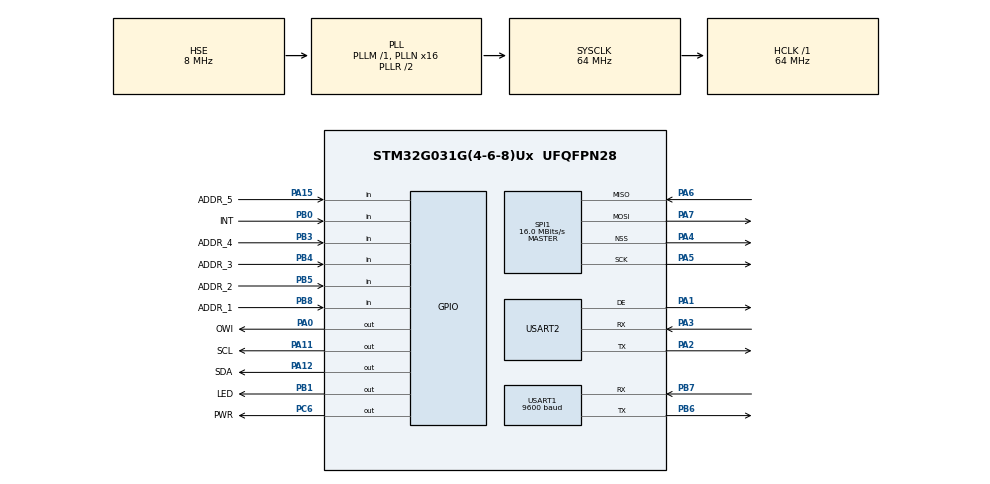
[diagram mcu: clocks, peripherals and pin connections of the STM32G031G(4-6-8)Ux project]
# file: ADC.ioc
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FREERTOS.Tasks01=defaultTask,0,128,StartDefaultTask,Default,NULL,Dynamic,NULL,NULL;myTask02,-3,128,ModbusTask,Default,NULL,Dynamic,NULL,NULL
IWDG.Prescaler=IWDG_PRESCALER_32
IWDG.Reload=1000
IWDG.Window=1000
Mcu.Family=STM32G0
Mcu.Name=STM32G031G(4-6-8)Ux
Mcu.Package=UFQFPN28
NVIC.TIM14_IRQn=true\:3\:0\:false\:false\:true\:false\:false\:true\:true
NVIC.TIM1_BRK_UP_TRG_COM_IRQn=true\:3\:0\:false\:false\:true\:true\:true\:true\:true
NVIC.TIM1_CC_IRQn=true\:3\:0\:false\:false\:true\:true\:true\:true\:true
NVIC.TIM2_IRQn=true\:3\:0\:false\:false\:true\:true\:true\:true\:true
NVIC.TIM3_IRQn=true\:3\:0\:false\:false\:true\:true\:true\:true\:true
NVIC.TimeBase=TIM14_IRQn
NVIC.TimeBaseIP=TIM14
NVIC.USART2_IRQn=true\:3\:0\:false\:false\:true\:true\:true\:true\:true
PA0.GPIO_Label=OWI
PA0.GPIO_ModeDefaultOutputPP=GPIO_MODE_OUTPUT_OD
PA0.GPIO_PuPd=GPIO_PULLUP
PA0.GPIO_Speed=GPIO_SPEED_FREQ_VERY_HIGH
PA0.Signal=GPIO_Output
PA1.Mode=Hardware Flow Control (RS485)
PA1.Signal=USART2_DE
PA11\ [PA9].GPIO_Label=SCL
PA11\ [PA9].GPIO_ModeDefaultOutputPP=GPIO_MODE_OUTPUT_OD
PA11\ [PA9].GPIO_PuPd=GPIO_NOPULL
PA11\ [PA9].PinState=GPIO_PIN_SET
PA11\ [PA9].Signal=GPIO_Output
PA12\ [PA10].GPIO_Label=SDA
PA12\ [PA10].GPIO_ModeDefaultOutputPP=GPIO_MODE_OUTPUT_OD
PA12\ [PA10].GPIO_PuPd=GPIO_NOPULL
PA12\ [PA10].PinState=GPIO_PIN_SET
PA12\ [PA10].Signal=GPIO_Output
PA13.Mode=Serial_Wire
PA13.Signal=SYS_SWDIO
PA14-BOOT0.Mode=Serial_Wire
PA14-BOOT0.Signal=SYS_SWCLK
PA15.GPIO_Label=ADDR_5
PA15.GPIO_Mode=GPIO_MODE_INPUT
PA15.GPIO_PuPd=GPIO_PULLUP
PA15.Signal=GPIO_Input
PA2.Mode=Asynchronous
PA2.Signal=USART2_TX
PA3.Mode=Asynchronous
PA3.Signal=USART2_RX
PA4.Mode=NSS_Signal_Hard_Output
PA4.Signal=SPI1_NSS
PA5.Mode=Full_Duplex_Master
PA5.Signal=SPI1_SCK
PA6.Mode=Full_Duplex_Master
PA6.Signal=SPI1_MISO
PA7.Mode=Full_Duplex_Master
PA7.Signal=SPI1_MOSI
PB0.GPIO_Label=INT
PB0.Signal=GPIO_Input
PB1.GPIO_Label=LED
PB1.Signal=GPIO_Output
PB3.GPIO_Label=ADDR_4
PB3.GPIO_Mode=GPIO_MODE_INPUT
PB3.GPIO_PuPd=GPIO_PULLUP
PB3.Signal=GPIO_Input
PB4.GPIO_Label=ADDR_3
PB4.GPIO_Mode=GPIO_MODE_INPUT
PB4.GPIO_PuPd=GPIO_PULLUP
PB4.Signal=GPIO_Input
PB5.GPIO_Label=ADDR_2
PB5.GPIO_Mode=GPIO_MODE_INPUT
PB5.GPIO_PuPd=GPIO_PULLUP
PB5.Signal=GPIO_Input
PB6.Mode=Asynchronous
PB6.Signal=USART1_TX
PB7.Mode=Asynchronous
PB7.Signal=USART1_RX
PB8.GPIO_Label=ADDR_1
PB8.GPIO_Mode=GPIO_MODE_INPUT
PB8.GPIO_PuPd=GPIO_PULLUP
PB8.Signal=GPIO_Input
PC14-OSC32_IN\ (PC14).Mode=HSE-External-Clock-Source
PC14-OSC32_IN\ (PC14).Signal=RCC_OSC_IN
PC6.GPIO_Label=PWR
PC6.PinState=GPIO_PIN_RESET
PC6.Signal=GPIO_Output
ProjectManager.HeapSize=0x200
ProjectManager.StackSize=0x400
ProjectManager.TargetToolchain=MDK-ARM V5.32
RCC.ADCFreq_Value=64000000
RCC.AHBFreq_Value=64000000
RCC.CortexFreq_Value=64000000
RCC.EXTERNAL_CLOCK_VALUE=12288000
RCC.HCLKFreq_Value=64000000
RCC.HSE_VALUE=8000000
RCC.HSI_VALUE=16000000
RCC.LSE_VALUE=32768
RCC.PLLN=16
RCC.PLLSourceVirtual=RCC_PLLSOURCE_HSE
RCC.SYSCLKFreq_VALUE=64000000
RCC.SYSCLKSource=RCC_SYSCLKSOURCE_PLLCLK
RCC.TIM1CLockSelectionVirtual=RCC_TIM1CLKSOURCE_PLL
RCC.VCOOutputFreq_Value=128000000
SPI1.BaudRatePrescaler=SPI_BAUDRATEPRESCALER_4
SPI1.CLKPhase=SPI_PHASE_2EDGE
SPI1.CalculateBaudRate=16.0 MBits/s
SPI1.Direction=SPI_DIRECTION_2LINES
SPI1.Mode=SPI_MODE_MASTER
SPI1.VirtualNSS=VM_NSSHARD
SPI1.VirtualType=VM_MASTER
TIM1.Period=0xFFFF
TIM1.Prescaler=64-1
TIM2.Channel-Input_Capture1_from_TI1_REMAP_TIM2=TIM_CHANNEL_1
TIM2.Prescaler=64-1
USART1.BaudRate=9600
USART1.SwapParam=ADVFEATURE_SWAP_DISABLE
USART1.VirtualMode-Asynchronous=VM_ASYNC
USART2.VirtualMode-Asynchronous=VM_ASYNC
USART2.VirtualMode-Hardware\ Flow\ Control\ (RS485)=VM_ASYNC
VP_FREERTOS_VS_CMSIS_V1.Mode=CMSIS_V1
VP_IWDG_VS_IWDG.Mode=IWDG_Activate
VP_SYS_VS_tim14.Mode=TIM14
VP_TIM1_VS_ClockSourceINT.Mode=Internal
VP_TIM2_VS_ClockSourceINT.Mode=Internal
VP_TIM2_VS_NoInput1.Mode=Input_Capture1_from_TI1_REMAP_TIM2
VP_TIM3_VS_ClockSourceINT.Mode=Internal
board=custom

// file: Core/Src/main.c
/* USER CODE BEGIN Header */
/**
  ******************************************************************************
  * @file           : main.c
  * @brief          : Main program body
  ******************************************************************************
  * @attention
  *
  * Copyright (c) 2025 STMicroelectronics.
  * All rights reserved.
  *
  * This software is licensed under terms that can be found in the LICENSE file
  * in the root directory of this software component.
  * If no LICENSE file comes with this software, it is provided AS-IS.
  *
  ******************************************************************************
  */
/* USER CODE END Header */
#include "main.h"
#include "cmsis_os.h"
#include "iwdg.h"
#include "spi.h"
#include "tim.h"
#include "usart.h"
#include "gpio.h"

/* USER CODE BEGIN Includes */
#include <math.h>
/* USER CODE END Includes */

void SystemClock_Config(void);
void MX_FREERTOS_Init(void);

/* USER CODE BEGIN 0 */
union Transfer
{
	 //整型和浮点型的转换
	int32_t Int32_data;//stm32中int占4个字节32位
	float   Float_data;//stm32中float占4个字节32位
	uint8_t Byte[4];   //4个uint8_t类型元素，占32位

}transT,transP,trans;

uint8_t LeastSquares(float x[], float y[], int num, float resp[]) {
	uint8_t err = 0;
	float sum_x2 = 0.0;  // x平方的和
	float sum_y = 0.0;   // y的和
	float sum_x = 0.0;   // x的和
	float sum_xy = 0.0;  // x乘以y的和
	float denominator;   // 分母变量
	const float EPS = 1e-9f;  // 极小值阈值，用于判断接近零的情况

	// 检查输入参数有效性：至少需要2个点才能拟合直线
	if (num <= 1) {
		err = 2;
		resp[0] = 0;
		resp[1] = 0;
		return err;
	}

	// 累加计算
	for (int i = 0; i < num; ++i) {
		sum_x2 += x[i] * x[i];
		sum_y += y[i];
		sum_x += x[i];
		sum_xy += x[i] * y[i];
	}

	// 计算分母
	denominator = num * sum_x2 - sum_x * sum_x;

	//if (fabs(denominator) < 1e-9) {
	// 检查分母是否为零或接近零（不使用fabs的写法）
	if (denominator == 0 || (denominator > -EPS && denominator < EPS)) {
		err = 1;  // 分母为零或接近零，无法拟合
		resp[0] = 0;
		resp[1] = 0;
		return err;
	}

	// 计算斜率a和截距b
	resp[0] = (num * sum_xy - sum_x * sum_y) / denominator;
	resp[1] = (sum_x2 * sum_y - sum_x * sum_xy) / denominator;

	return err;
}
uint32_t bufff_k;
void test() {
    float pad[2];
    float p[2];
    float p_kb[2];

	p[0] = 101.4;
	p[1] = 70;
	pad[0] = 2525590;
	pad[1] = 1441165;

    LeastSquares(pad, p, 2, p_kb);

    bufff_k=(int32_t)round(p_kb[0] * 1000000);
//    bufff_k=bufff_k;

}
/* USER CODE END 0 */

int main(void)
{

  /* MCU Configuration--------------------------------------------------------*/

  /* Reset of all peripherals, Initializes the Flash interface and the Systick. */
  HAL_Init();

  /* USER CODE BEGIN Init */
//test();
  /* USER CODE END Init */

  /* Configure the system clock */
  SystemClock_Config();

  /* USER CODE BEGIN SysInit */
  __HAL_RCC_LSI_ENABLE();
  while(__HAL_RCC_GET_FLAG(RCC_FLAG_LSIRDY) == RESET);
  /* USER CODE END SysInit */

  /* Initialize all configured peripherals */
  MX_GPIO_Init();
  MX_SPI1_Init();
  MX_USART2_UART_Init();
  MX_TIM3_Init();
  MX_TIM1_Init();
  MX_TIM2_Init();
  MX_USART1_UART_Init();
  MX_IWDG_Init();
  /* USER CODE BEGIN 2 */
  HAL_IWDG_Refresh(&hiwdg);
  /* USER CODE END 2 */

  /* Call init function for freertos objects (in cmsis_os2.c) */
  MX_FREERTOS_Init();

  /* Start scheduler */
  osKernelStart();

  /* We should never get here as control is now taken by the scheduler */

  /* Infinite loop */
  while (1)
  {

  }
}

void SystemClock_Config(void)
{
  RCC_OscInitTypeDef RCC_OscInitStruct = {0};
  RCC_ClkInitTypeDef RCC_ClkInitStruct = {0};

  /** Configure the main internal regulator output voltage
  */
  HAL_PWREx_ControlVoltageScaling(PWR_REGULATOR_VOLTAGE_SCALE1);

  /** Initializes the RCC Oscillators according to the specified parameters
  * in the RCC_OscInitTypeDef structure.
  */
  RCC_OscInitStruct.OscillatorType = RCC_OSCILLATORTYPE_LSI|RCC_OSCILLATORTYPE_HSE;
  RCC_OscInitStruct.HSEState = RCC_HSE_BYPASS;
  RCC_OscInitStruct.LSIState = RCC_LSI_ON;
  RCC_OscInitStruct.PLL.PLLState = RCC_PLL_ON;
  RCC_OscInitStruct.PLL.PLLSource = RCC_PLLSOURCE_HSE;
  RCC_OscInitStruct.PLL.PLLM = RCC_PLLM_DIV1;
  RCC_OscInitStruct.PLL.PLLN = 16;
  RCC_OscInitStruct.PLL.PLLP = RCC_PLLP_DIV2;
  RCC_OscInitStruct.PLL.PLLQ = RCC_PLLQ_DIV2;
  RCC_OscInitStruct.PLL.PLLR = RCC_PLLR_DIV2;
  if (HAL_RCC_OscConfig(&RCC_OscInitStruct) != HAL_OK)
  {
    Error_Handler();
  }

  /** Initializes the CPU, AHB and APB buses clocks
  */
  RCC_ClkInitStruct.ClockType = RCC_CLOCKTYPE_HCLK|RCC_CLOCKTYPE_SYSCLK
                              |RCC_CLOCKTYPE_PCLK1;
  RCC_ClkInitStruct.SYSCLKSource = RCC_SYSCLKSOURCE_PLLCLK;
  RCC_ClkInitStruct.AHBCLKDivider = RCC_SYSCLK_DIV1;
  RCC_ClkInitStruct.APB1CLKDivider = RCC_HCLK_DIV1;

  if (HAL_RCC_ClockConfig(&RCC_ClkInitStruct, FLASH_LATENCY_2) != HAL_OK)
  {
    Error_Handler();
  }
}

/* USER CODE BEGIN 4 */
void delay_us(uint32_t us)
{
  uint16_t delay=0xffff-us-5;
  __HAL_TIM_SetCounter(&htim1,delay);
  while(delay<0xffff-5)
  {
     delay=__HAL_TIM_GetCounter(&htim1);
  }
}

//void HAL_WWDG_EarlyWakeupCallback(WWDG_HandleTypeDef *hwwdg)
//{
//  /* Prevent unused argument(s) compilation warning */
//  UNUSED(hwwdg);
//  HAL_WWDG_Refresh(hwwdg);      //喂狗
//}
/* USER CODE END 4 */

void HAL_TIM_PeriodElapsedCallback(TIM_HandleTypeDef *htim)
{
  if (htim->Instance == TIM14)
  {
    HAL_IncTick();
  }
}

void Error_Handler(void)
{
  __disable_irq();
  while (1)
  {
  }
}

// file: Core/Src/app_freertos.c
/* USER CODE BEGIN Header */
/**
  ******************************************************************************
  * File Name          : app_freertos.c
  * Description        : Code for freertos applications
  ******************************************************************************
  * @attention
  *
  * Copyright (c) 2025 STMicroelectronics.
  * All rights reserved.
  *
  * This software is licensed under terms that can be found in the LICENSE file
  * in the root directory of this software component.
  * If no LICENSE file comes with this software, it is provided AS-IS.
  *
  ******************************************************************************
  */
/* USER CODE END Header */

#include "FreeRTOS.h"
#include "task.h"
#include "main.h"
#include "cmsis_os.h"

/* USER CODE BEGIN Includes */
#include "usart.h"
#include "stdio.h"
#include "mb.h"
#include "mbutils.h"
#include <string.h>
#include "CmdHelper.h"
#include "ADS1220.h"
#include "flash.h"
#include "SoftIIC.h"
#include "tim.h"
#include "iwdg.h"
#include "wf2200.h"
#include "wf183.h"
#include "wf100s.h"

/* USER CODE END Includes */

/* USER CODE BEGIN PTD */

#define SLAVE_ADDRESS 31

#define REG_INPUT_START 30001
#define SENDBUF_LENS 120
#define REG_HOLDING_START 40001
#define RECVBUF_LENS 64
#define RETRY_COUNT 2
#define REG_INPUT2_START 20001
uint16_t recvBuf[RECVBUF_LENS];
uint16_t sendBuf[SENDBUF_LENS];
uint16_t sendBufBy[SENDBUF_LENS];

uint8_t IsTaskDone;
uint8_t IsTask_mub;

/* USER CODE END PTD */

osThreadId defaultTaskHandle;
osThreadId myTask02Handle;

/* USER CODE BEGIN FunctionPrototypes */
uint8_t UART485_ADDR;
osThreadId myTask03Handle;
void Sync183Task(void const * argument);
/* USER CODE END FunctionPrototypes */

void StartDefaultTask(void const * argument);
void ModbusTask(void const * argument);

void MX_FREERTOS_Init(void); /* (MISRA C 2004 rule 8.1) */

void MX_FREERTOS_Init(void) {

  /* Create the thread(s) */
  /* definition and creation of defaultTask */
  osThreadDef(defaultTask, StartDefaultTask, osPriorityNormal, 0, 128);
  defaultTaskHandle = osThreadCreate(osThread(defaultTask), NULL);

  /* definition and creation of myTask02 */
  osThreadDef(myTask02, ModbusTask, osPriorityIdle, 0, 128);
  myTask02Handle = osThreadCreate(osThread(myTask02), NULL);

  /* USER CODE BEGIN RTOS_THREADS */
  /* add threads, ... */

  /* definition and creation of myTask02 */
  osThreadDef(myTask03, Sync183Task, osPriorityNormal, 0, 256);
  myTask03Handle = osThreadCreate(osThread(myTask03), NULL);

  /* USER CODE END RTOS_THREADS */

}

void StartDefaultTask(void const * argument)
{
  /* USER CODE BEGIN StartDefaultTask */
  uint8_t i=0;
  /* Infinite loop */
  for(;;)
  {
      HAL_IWDG_Refresh(&hiwdg);
      if(i ==1 )
		HAL_GPIO_WritePin(LED_GPIO_Port,LED_Pin,GPIO_PIN_SET);
      else if(i ==6) {
        i = 0;
		HAL_GPIO_WritePin(LED_GPIO_Port,LED_Pin,GPIO_PIN_RESET);
      }
      i++;
      osDelay(500);
  }
  /* USER CODE END StartDefaultTask */
}

void ModbusTask(void const * argument)
{
  /* USER CODE BEGIN ModbusTask */
  /* Infinite loop */

	HAL_TIM_Base_Start(&htim1);
	ST_Flash_Read(FLASH_USER_START_ADDR,20,(uint8_t*)&ADS1220);
	ADS1220_Init(&ADS1220);
	iic_init(SDA_GPIO_Port, SDA_Pin, SCL_GPIO_Port, SCL_Pin);
	UART485_ADDR = (!ADDR1_READ|!ADDR2_READ|!ADDR3_READ|!ADDR4_READ|!ADDR5_READ)+1;
	eMBInit(MB_RTU, SLAVE_ADDRESS, SLAVE_ADDRESS, 115200, MB_PAR_NONE);
	eMBEnable();
	/* Infinite loop */
	for (;;) {
		eMBPoll();
		osDelay(1);
	}
  /* USER CODE END ModbusTask */
}

/* USER CODE BEGIN Application */
void Sync183Task(void const * argument)
{
  /* USER CODE BEGIN ModbusTask */
  /* Infinite loop */
	HAL_TIM_Base_Start(&htim2);
  HAL_GPIO_WritePin(PWR_GPIO_Port, PWR_Pin, GPIO_PIN_RESET);
	/* Infinite loop */
	for (;;) {
		switch(IsTask_mub)
		{
			case WF183DE:
        if(IsTaskDone)
        {
					memset(sendBufBy, 0, sizeof(uint16_t)* SENDBUF_LENS);
					AllTestFor183(sendBufBy, SENDBUF_LENS);
					IsTaskDone = 0;
        }
				break;
			case WF100S:
				if(IsTaskDone)
        {
					memset(sendBufBy, 0, sizeof(uint16_t)* SENDBUF_LENS);
					AllTestFor100S(sendBufBy, SENDBUF_LENS);
          osDelay(1);
					IsTaskDone = 0;
        }
				break;
			case WF2200:
				if(IsTaskDone)
        {
					memset(sendBufBy, 0, sizeof(uint16_t)* SENDBUF_LENS);
					AllTestFor2200(sendBufBy, SENDBUF_LENS);
					IsTaskDone = 0;
        }
				break;
			default:

				break;
		}
		osDelay(1);
	}
  /* USER CODE END ModbusTask */
}

eMBErrorCode eMBRegInputCB(UCHAR *pucRegBuffer, USHORT usAddress, USHORT usNRegs) {
	eMBErrorCode eStatus = MB_ENOERR;
	int i = 0;
	if ((usAddress/* >=*/== REG_INPUT_START) && (usAddress + usNRegs <= REG_INPUT_START + SENDBUF_LENS)) {
		i = (int) (usAddress - REG_INPUT_START);
		while (usNRegs > 0) {
			*pucRegBuffer++ = (uint8_t) (sendBuf[i] >> 8);
			*pucRegBuffer++ = (uint8_t) (sendBuf[i] & 0xFF);
			i++;
			usNRegs--;
		}
	}
	/*else if ((usAddress >= REG_INPUT2_START) && (usAddress + usNRegs <= REG_INPUT2_START + DATABUF_LENS)) {
	 i = (int) (usAddress - REG_INPUT2_START);
	 while (usNRegs > 0) {
	 *pucRegBuffer++ = (uint8_t) (dataBuf[i] >> 8);
	 *pucRegBuffer++ = (uint8_t) (dataBuf[i] & 0xFF);
	 i++;
	 usNRegs--;
	 }
	 } */else {
		eStatus = MB_ENOREG;
	}
	return eStatus;
}

eMBErrorCode eMBRegHoldingCB(UCHAR *pucRegBuffer, USHORT usAddress, USHORT usNRegs, eMBRegisterMode eMode) {
	eMBErrorCode eStatus = MB_ENOERR;
	int i = 0;
	if ((usAddress /*>=*/== REG_HOLDING_START) && (usAddress + usNRegs <= REG_HOLDING_START + RECVBUF_LENS)) {
		i = (int) (usAddress - REG_HOLDING_START);
		if (eMode == MB_REG_READ) {
			while (usNRegs > 0) {
				*pucRegBuffer++ = (UCHAR) (recvBuf[i] >> 8);
				*pucRegBuffer++ = (UCHAR) (recvBuf[i] & 0xFF);
				i++;
				usNRegs--;
			}
		} else if (eMode == MB_REG_WRITE) {
			while (usNRegs > 0) {
				recvBuf[i] = *pucRegBuffer++ << 8;
				recvBuf[i] |= *pucRegBuffer++;
				i++;
				usNRegs--;
			}
			memset(sendBuf, 0, sizeof(uint16_t)* SENDBUF_LENS);
			Parse(recvBuf, i, sendBuf, SENDBUF_LENS);
		}
	} else {
		eStatus = MB_ENOREG;
	}
	return eStatus;
}

eMBErrorCode eMBRegCoilsCB(UCHAR *pucRegBuffer, USHORT usAddress, USHORT usNCoils, eMBRegisterMode eMode) {
	return MB_ENOERR;
}

eMBErrorCode eMBRegDiscreteCB(UCHAR *pucRegBuffer, USHORT usAddress, USHORT usNDiscrete) {
	return MB_ENOERR;
}

/* USER CODE END Application */
